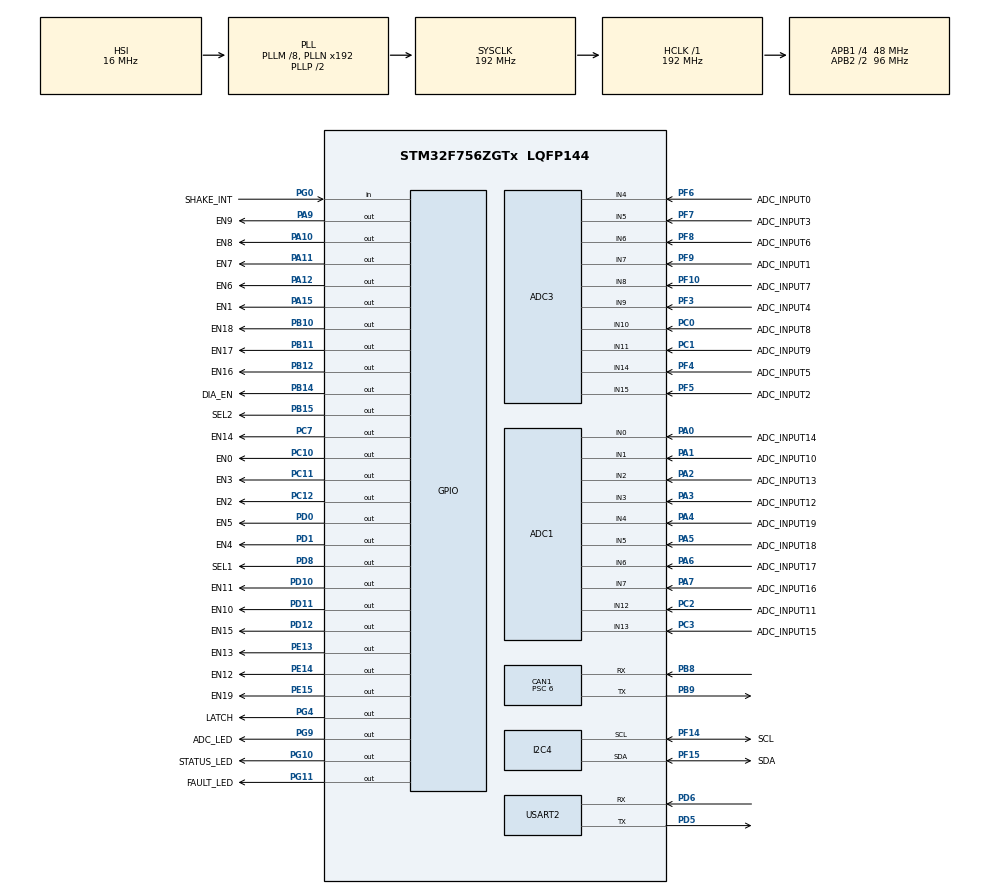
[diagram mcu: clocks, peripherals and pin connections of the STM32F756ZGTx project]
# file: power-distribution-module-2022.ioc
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NVIC.CAN1_RX1_IRQn=true\:5\:0\:false\:false\:true\:true\:true\:true
PF4.Mode=IN14
PD12.GPIO_Label=EN15
VP_SYS_VS_tim6.Mode=TIM6
NVIC.TIM6_DAC_IRQn=true\:0\:0\:false\:false\:true\:false\:false\:true
PG4.Signal=GPIO_Output
ADC1.SamplingTime-6\#ChannelRegularConversion=ADC_SAMPLETIME_15CYCLES
PC12.Signal=GPIO_Output
PB14.GPIO_Label=DIA_EN
PG0.Signal=GPIO_Input
PA6.GPIO_Label=ADC_INPUT17
ADC1.SamplingTime-12\#ChannelRegularConversion=ADC_SAMPLETIME_15CYCLES
PF6.GPIO_Label=ADC_INPUT0
ADC1.Channel-8\#ChannelRegularConversion=ADC_CHANNEL_13
RCC.SYSCLKSource=RCC_SYSCLKSOURCE_PLLCLK
ADC3.Channel-8\#ChannelRegularConversion=ADC_CHANNEL_10
ADC1.Channel-5\#ChannelRegularConversion=ADC_CHANNEL_2
PF7.Signal=ADC3_IN5
ADC3.Rank-7\#ChannelRegularConversion=8
NVIC.CAN1_TX_IRQn=true\:5\:0\:false\:false\:true\:true\:true\:true
ADC1.Rank-11\#ChannelRegularConversion=9
I2C4.Timing=0x20303E5D
RCC.APB2TimFreq_Value=192000000
Dma.ADC1.0.Direction=DMA_PERIPH_TO_MEMORY
ADC1.Channel-2\#ChannelRegularConversion=ADC_CHANNEL_1
PC7.Signal=GPIO_Output
PH1/OSC_OUT.Signal=RCC_OSC_OUT
PC3.Signal=ADCx_IN13
PD0.Signal=GPIO_Output
ADC3.ScanConvMode=ADC_SCAN_ENABLE
PD8.Signal=GPIO_Output
FREERTOS.configMINIMAL_STACK_SIZE=256
Dma.ADC1.0.MemDataAlignment=DMA_MDATAALIGN_HALFWORD
PF10.GPIO_Label=ADC_INPUT7
PB3.Mode=Trace_Asynchronous_SW
ADC1.ScanConvMode=ADC_SCAN_ENABLE
ADC3.SamplingTime-2\#ChannelRegularConversion=ADC_SAMPLETIME_15CYCLES
PD1.GPIO_Label=EN4
PB12.GPIO_Label=EN16
ADC3.SamplingTime-5\#ChannelRegularConversion=ADC_SAMPLETIME_15CYCLES
Dma.ADC1.0.PeriphInc=DMA_PINC_DISABLE
PG4.GPIO_Label=LATCH
PF8.Mode=IN6
ADC3.SamplingTime-9\#ChannelRegularConversion=ADC_SAMPLETIME_15CYCLES
PF3.Signal=ADC3_IN9
ADC3.Channel-2\#ChannelRegularConversion=ADC_CHANNEL_15
VP_FREERTOS_VS_CMSIS_V1.Mode=CMSIS_V1
ADC3.Rank-4\#ChannelRegularConversion=5
CAN1.Prescaler=6
PB9.Signal=CAN1_TX
Mcu.Package=LQFP144
TIM2.Prescaler=96-1
NVIC.TimeBase=TIM6_DAC_IRQn
PD12.Signal=GPIO_Output
ADC3.Rank-0\#ChannelRegularConversion=1
NVIC.TimeBaseIP=TIM6
PA10.Signal=GPIO_Output
ADC3.DMAContinuousRequests=ENABLE
RCC.APB2CLKDivider=RCC_HCLK_DIV2
PF14.Signal=I2C4_SCL
RCC.APB1TimFreq_Value=96000000
Dma.ADC1.0.FIFOMode=DMA_FIFOMODE_DISABLE
PF10.Mode=IN8
CAN1.CalculateTimeBit=1000.00
PA4.GPIO_Label=ADC_INPUT19
ADC1.EOCSelection=ADC_EOC_SEQ_CONV
Dma.ADC3.1.Priority=DMA_PRIORITY_LOW
ADC1.Rank-4\#ChannelRegularConversion=3
CAN1.CalculateTimeQuantum=125.0
ADC1.Channel-10\#ChannelRegularConversion=ADC_CHANNEL_6
Dma.ADC1.0.Instance=DMA2_Stream0
FREERTOS.Tasks01=taskMain_Loop,0,256,task_main_loop,Default,NULL,Dynamic,NULL,NULL;taskGCAN_Hardwa,0,256,task_gcan_hw,Default,NULL,Dynamic,NULL,NULL
SH.ADCx_IN6.0=ADC1_IN6,IN6
PG9.Signal=GPIO_Output
PA9.GPIO_Label=EN9
ADC3.Rank-6\#ChannelRegularConversion=7
CAN1.CalculateBaudRate=1000000
PC2.Signal=ADCx_IN12
PB11.GPIO_Label=EN17
PD1.Signal=GPIO_Output
PA11.GPIO_Label=EN7
PF14.GPIO_Label=SCL
NVIC.DMA2_Stream1_IRQn=true\:5\:0\:false\:false\:true\:false\:false\:true
PC0.Signal=ADCx_IN10
RCC.APB1CLKDivider=RCC_HCLK_DIV4
PD6.Mode=Asynchronous
PG10.Signal=GPIO_Output
PF8.GPIO_Label=ADC_INPUT6
PD10.Signal=GPIO_Output
SH.ADCx_IN7.0=ADC1_IN7,IN7
ADC3.SamplingTime-6\#ChannelRegularConversion=ADC_SAMPLETIME_15CYCLES
Dma.ADC1.0.Priority=DMA_PRIORITY_HIGH
PA9.Signal=GPIO_Output
ADC3.NbrOfConversion=10
Dma.ADC3.1.FIFOMode=DMA_FIFOMODE_DISABLE
Dma.ADC3.1.Instance=DMA2_Stream1
PB10.Signal=GPIO_Output
ADC3.Rank-9\#ChannelRegularConversion=10
PB14.Signal=GPIO_Output
PA5.Signal=ADCx_IN5
ADC1.Rank-12\#ChannelRegularConversion=10
PE14.Signal=GPIO_Output
ADC3.Channel-5\#ChannelRegularConversion=ADC_CHANNEL_14
PE15.Signal=GPIO_Output
PB15.GPIO_Label=SEL2
PF4.GPIO_Label=ADC_INPUT5
PA1.GPIO_Label=ADC_INPUT10
Dma.ADC3.1.MemDataAlignment=DMA_MDATAALIGN_HALFWORD
PA0/WKUP.GPIO_Label=ADC_INPUT14
SH.ADCx_IN4.0=ADC1_IN4,IN4
Dma.ADC3.1.PeriphInc=DMA_PINC_DISABLE
ADC1.DMAContinuousRequests=ENABLE
ADC1.SamplingTime-10\#ChannelRegularConversion=ADC_SAMPLETIME_15CYCLES
TIM2.Period=4294967295
ADC1.Rank-9\#ChannelRegularConversion=7
ADC3.Rank-5\#ChannelRegularConversion=6
PA13.Mode=Trace_Asynchronous_SW
ADC3.Channel-1\#ChannelRegularConversion=ADC_CHANNEL_7
PC7.GPIO_Label=EN14
ADC3.Rank-1\#ChannelRegularConversion=2
PA4.Signal=ADCx_IN4
ADC1.master=1
PE13.GPIO_Label=EN13
PA5.GPIO_Label=ADC_INPUT18
PD11.Signal=GPIO_Output
PC12.GPIO_Label=EN2
PA11.Signal=GPIO_Output
ProjectManager.HeapSize=0x200
ADC3.EOCSelection=ADC_EOC_SINGLE_CONV
ADC1.SamplingTime-5\#ChannelRegularConversion=ADC_SAMPLETIME_15CYCLES
PF6.Mode=IN4
PF9.Signal=ADC3_IN7
SH.ADCx_IN5.0=ADC1_IN5,IN5
NVIC.PriorityGroup=NVIC_PRIORITYGROUP_4
PB8.Mode=CAN_Activate
TIM2.AutoReloadPreload=TIM_AUTORELOAD_PRELOAD_DISABLE
PC3.GPIO_Label=ADC_INPUT15
PF4.Signal=ADC3_IN14
ADC1.SamplingTime-9\#ChannelRegularConversion=ADC_SAMPLETIME_15CYCLES
ADC1.Rank-5\#ChannelRegularConversion=4
PC1.Signal=ADCx_IN11
PG10.GPIO_Label=STATUS_LED
NVIC.CAN1_RX0_IRQn=true\:5\:0\:false\:false\:true\:true\:true\:true
Mcu.Family=STM32F7
RCC.CortexFreq_Value=192000000
ADC1.ContinuousConvMode=ENABLE
ADC3.Channel-3\#ChannelRegularConversion=ADC_CHANNEL_5
ADC3.SamplingTime-7\#ChannelRegularConversion=ADC_SAMPLETIME_15CYCLES
CAN1.AWUM=ENABLE
SH.ADCx_IN2.0=ADC1_IN2,IN2
PC10.Signal=GPIO_Output
PC0.GPIO_Label=ADC_INPUT8
PD0.GPIO_Label=EN5
PA0/WKUP.Signal=ADCx_IN0
PB11.Signal=GPIO_Output
PB15.Signal=GPIO_Output
ADC3.Channel-0\#ChannelRegularConversion=ADC_CHANNEL_4
PG11.Signal=GPIO_Output
ADC3.Rank-2\#ChannelRegularConversion=3
ProjectManager.StackSize=0x400
ADC3.Channel-6\#ChannelRegularConversion=ADC_CHANNEL_6
ADC3.SamplingTime-4\#ChannelRegularConversion=ADC_SAMPLETIME_15CYCLES
Dma.ADC3.1.PeriphDataAlignment=DMA_PDATAALIGN_HALFWORD
PA15.GPIO_Label=EN1
PA12.Signal=GPIO_Output
ADC1.Channel-3\#ChannelRegularConversion=ADC_CHANNEL_12
PH0/OSC_IN.Mode=HSE-External-Clock-Source
PD11.GPIO_Label=EN10
RCC.HCLKFreq_Value=192000000
SH.ADCx_IN3.0=ADC1_IN3,IN3
NVIC.DMA2_Stream0_IRQn=true\:5\:0\:false\:false\:true\:false\:false\:true
RCC.AHBFreq_Value=192000000
PD5.Mode=Asynchronous
ADC3.SamplingTime-1\#ChannelRegularConversion=ADC_SAMPLETIME_15CYCLES
RCC.HSE_VALUE=24000000
ADC3.InjNumberOfConversion=0
USART2.VirtualMode-Asynchronous=VM_ASYNC
ADC1.SamplingTime-4\#ChannelRegularConversion=ADC_SAMPLETIME_15CYCLES
ADC1.Channel-6\#ChannelRegularConversion=ADC_CHANNEL_0
ADC1.Rank-2\#ChannelRegularConversion=1
PF9.Mode=IN7
ADC3.Channel-9\#ChannelRegularConversion=ADC_CHANNEL_11
PE13.Signal=GPIO_Output
PF7.GPIO_Label=ADC_INPUT3
ADC3.Rank-8\#ChannelRegularConversion=9
PA14.Mode=Trace_Asynchronous_SW
PC11.GPIO_Label=EN3
PA10.GPIO_Label=EN8
ADC3.DataAlign=ADC_DATAALIGN_RIGHT
SH.ADCx_IN0.0=ADC1_IN0,IN0
PH1/OSC_OUT.Mode=HSE-External-Clock-Source
FREERTOS.configTOTAL_HEAP_SIZE=300000
PF15.Mode=I2C
ADC1.SamplingTime-11\#ChannelRegularConversion=ADC_SAMPLETIME_15CYCLES
PA6.Signal=ADCx_IN6
Dma.ADC3.1.Direction=DMA_PERIPH_TO_MEMORY
PA2.GPIO_Label=ADC_INPUT13
ADC1.Channel-11\#ChannelRegularConversion=ADC_CHANNEL_5
PF5.GPIO_Label=ADC_INPUT2
PA15.Signal=GPIO_Output
PF8.Signal=ADC3_IN6
PG0.GPIO_Label=SHAKE_INT
ADC3.ClockPrescaler=ADC_CLOCK_SYNC_PCLK_DIV4
PF5.Signal=ADC3_IN15
SH.ADCx_IN1.0=ADC1_IN1,IN1
Dma.Request1=ADC3
PG11.GPIO_Label=FAULT_LED
PD6.Signal=USART2_RX
ADC1.Rank-6\#ChannelRegularConversion=5
Dma.Request0=ADC1
PF3.GPIO_Label=ADC_INPUT4
ADC1.SamplingTime-8\#ChannelRegularConversion=ADC_SAMPLETIME_15CYCLES
PC2.GPIO_Label=ADC_INPUT11
PA3.Signal=ADCx_IN3
ADC3.Channel-7\#ChannelRegularConversion=ADC_CHANNEL_8
ADC3.SamplingTime-3\#ChannelRegularConversion=ADC_SAMPLETIME_15CYCLES
ADC3.DiscontinuousConvMode=DISABLE
SH.ADCx_IN13.0=ADC1_IN13,IN13
PF3.Mode=IN9
ADC1.Channel-4\#ChannelRegularConversion=ADC_CHANNEL_3
PC10.GPIO_Label=EN0
ADC1.Rank-10\#ChannelRegularConversion=8
ADC1.Rank-8\#ChannelRegularConversion=6
PC11.Signal=GPIO_Output
ADC1.DiscontinuousConvMode=DISABLE
PE14.GPIO_Label=EN12
PD5.Signal=USART2_TX
ADC3.Rank-3\#ChannelRegularConversion=4
PA12.GPIO_Label=EN6
PF5.Mode=IN15
ADC1.SamplingTime-2\#ChannelRegularConversion=ADC_SAMPLETIME_15CYCLES
PD8.GPIO_Label=SEL1
PA13.Signal=SYS_JTMS-SWDIO
PF7.Mode=IN5
Dma.ADC1.0.PeriphDataAlignment=DMA_PDATAALIGN_HALFWORD
SH.ADCx_IN12.0=ADC1_IN12,IN12
ADC3.SamplingTime-0\#ChannelRegularConversion=ADC_SAMPLETIME_15CYCLES
PE15.GPIO_Label=EN19
PF6.Signal=ADC3_IN4
CAN1.BS1=CAN_BS1_6TQ
ProjectManager.TargetToolchain=STM32CubeIDE
ADC3.Channel-4\#ChannelRegularConversion=ADC_CHANNEL_9
PB10.GPIO_Label=EN18
Dma.ADC1.0.Mode=DMA_CIRCULAR
PB9.Mode=CAN_Activate
RCC.USBFreq_Value=192000000
PF9.GPIO_Label=ADC_INPUT1
PD10.GPIO_Label=EN11
RCC.LSE_VALUE=32768
PA1.Signal=ADCx_IN1
CAN1.ABOM=ENABLE
PG9.GPIO_Label=ADC_LED
board=custom
RCC.VCOOutputFreq_Value=384000000
PH0/OSC_IN.Signal=RCC_OSC_IN
ADC1.Channel-12\#ChannelRegularConversion=ADC_CHANNEL_4
RCC.APB2Freq_Value=96000000
SH.ADCx_IN11.0=ADC3_IN11,IN11
VP_TIM2_VS_ClockSourceINT.Mode=Internal
CAN1.Mode=CAN_MODE_NORMAL
PF10.Signal=ADC3_IN8
PF14.Mode=I2C
PC1.GPIO_Label=ADC_INPUT9
PF15.GPIO_Label=SDA
Dma.ADC3.1.MemInc=DMA_MINC_ENABLE
PF15.Signal=I2C4_SDA
ADC3.SamplingTime-8\#ChannelRegularConversion=ADC_SAMPLETIME_15CYCLES
ADC1.NbrOfConversion=10
Dma.ADC3.1.Mode=DMA_CIRCULAR
Mcu.Name=STM32F756ZGTx
PA2.Signal=ADCx_IN2
ADC1.Channel-9\#ChannelRegularConversion=ADC_CHANNEL_7
PB3.Signal=SYS_JTDO-SWO
RCC.SYSCLKFreq_VALUE=192000000
PA7.GPIO_Label=ADC_INPUT16
ADC1.Rank-3\#ChannelRegularConversion=2
ADC1.SamplingTime-3\#ChannelRegularConversion=ADC_SAMPLETIME_15CYCLES
PA14.Signal=SYS_JTCK-SWCLK
Dma.ADC1.0.MemInc=DMA_MINC_ENABLE
SH.ADCx_IN10.0=ADC3_IN10,IN10
RCC.HSI_VALUE=16000000
ADC1.NbrOfConversionFlag=1
RCC.PLLM=8
PB8.Signal=CAN1_RX
RCC.APB1Freq_Value=48000000
ADC3.NbrOfConversionFlag=1
ADC1.ClockPrescaler=ADC_CLOCK_SYNC_PCLK_DIV4
PB12.Signal=GPIO_Output
PA3.GPIO_Label=ADC_INPUT12
PA7.Signal=ADCx_IN7

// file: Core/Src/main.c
/* USER CODE BEGIN Header */
/**
  ******************************************************************************
  * @file           : main.c
  * @brief          : Main program body
  ******************************************************************************
  * @attention
  *
  * <h2><center>&copy; Copyright (c) 2021 STMicroelectronics.
  * All rights reserved.</center></h2>
  *
  * This software component is licensed by ST under BSD 3-Clause license,
  * the "License"; You may not use this file except in compliance with the
  * License. You may obtain a copy of the License at:
  *                        opensource.org/licenses/BSD-3-Clause
  *
  ******************************************************************************
  */
/* USER CODE END Header */
#include "main.h"
#include "cmsis_os.h"

/* USER CODE BEGIN Includes */
#include "pdm.h"
#include "gcan_pdm.h"
#include <string.h>
#include "config.h"
#include <math.h>

/* USER CODE END Includes */

ADC_HandleTypeDef hadc1;
ADC_HandleTypeDef hadc3;
DMA_HandleTypeDef hdma_adc1;
DMA_HandleTypeDef hdma_adc3;

CAN_HandleTypeDef hcan1;

I2C_HandleTypeDef hi2c4;

TIM_HandleTypeDef htim2;

UART_HandleTypeDef huart2;

osThreadId taskMain_LoopHandle;
osThreadId taskGCAN_HardwaHandle;

void SystemClock_Config(void);
static void MX_GPIO_Init(void);
static void MX_DMA_Init(void);
static void MX_CAN1_Init(void);
static void MX_ADC1_Init(void);
static void MX_ADC3_Init(void);
static void MX_I2C4_Init(void);
static void MX_TIM2_Init(void);
static void MX_USART2_UART_Init(void);
void task_main_loop(void const * argument);
void task_gcan_hw(void const * argument);

int main(void)
{

  /* MCU Configuration--------------------------------------------------------*/

  /* Reset of all peripherals, Initializes the Flash interface and the Systick. */
  HAL_Init();

  /* USER CODE BEGIN Init */
  MX_GPIO_Init();
  // Turn all LEDs on so that if there's an issue with the clock we know
  init_leds();
  set_all_leds(TRUE, TRUE, TRUE);
  /* USER CODE END Init */

  /* Configure the system clock */
  SystemClock_Config();

  /* Initialize all configured peripherals */
  MX_GPIO_Init();
  MX_DMA_Init();
  MX_CAN1_Init();
  MX_ADC1_Init();
  MX_ADC3_Init();
  MX_I2C4_Init();
  MX_TIM2_Init();
  MX_USART2_UART_Init();
  /* USER CODE BEGIN 2 */

  // ====================
  // || Initialization ||
  // ====================

  init_pdm(&htim2, &hadc1, &hadc3, &huart2);
  init_gcan(&hcan1);

  /* USER CODE END 2 */

  /* Create the thread(s) */
  /* definition and creation of taskMain_Loop */
  osThreadDef(taskMain_Loop, task_main_loop, osPriorityNormal, 0, 256);
  taskMain_LoopHandle = osThreadCreate(osThread(taskMain_Loop), NULL);

  /* definition and creation of taskGCAN_Hardwa */
  osThreadDef(taskGCAN_Hardwa, task_gcan_hw, osPriorityNormal, 0, 256);
  taskGCAN_HardwaHandle = osThreadCreate(osThread(taskGCAN_Hardwa), NULL);

  /* Start scheduler */
  osKernelStart();

  /* We should never get here as control is now taken by the scheduler */
  /* Infinite loop */
  /* USER CODE BEGIN WHILE */
  while (1)
  {
	// TODO: Add error code here
    /* USER CODE END WHILE */

  }
}

void SystemClock_Config(void)
{
  RCC_OscInitTypeDef RCC_OscInitStruct = {0};
  RCC_ClkInitTypeDef RCC_ClkInitStruct = {0};
  RCC_PeriphCLKInitTypeDef PeriphClkInitStruct = {0};

  /** Configure the main internal regulator output voltage
  */
  __HAL_RCC_PWR_CLK_ENABLE();
  __HAL_PWR_VOLTAGESCALING_CONFIG(PWR_REGULATOR_VOLTAGE_SCALE1);
  /** Initializes the RCC Oscillators according to the specified parameters
  * in the RCC_OscInitTypeDef structure.
  */
  RCC_OscInitStruct.OscillatorType = RCC_OSCILLATORTYPE_HSI;
  RCC_OscInitStruct.HSIState = RCC_HSI_ON;
  RCC_OscInitStruct.HSICalibrationValue = RCC_HSICALIBRATION_DEFAULT;
  RCC_OscInitStruct.PLL.PLLState = RCC_PLL_ON;
  RCC_OscInitStruct.PLL.PLLSource = RCC_PLLSOURCE_HSI;
  RCC_OscInitStruct.PLL.PLLM = 8;
  RCC_OscInitStruct.PLL.PLLN = 192;
  RCC_OscInitStruct.PLL.PLLP = RCC_PLLP_DIV2;
  RCC_OscInitStruct.PLL.PLLQ = 2;
  if (HAL_RCC_OscConfig(&RCC_OscInitStruct) != HAL_OK)
  {
    Error_Handler();
  }
  /** Activate the Over-Drive mode
  */
  if (HAL_PWREx_EnableOverDrive() != HAL_OK)
  {
    Error_Handler();
  }
  /** Initializes the CPU, AHB and APB buses clocks
  */
  RCC_ClkInitStruct.ClockType = RCC_CLOCKTYPE_HCLK|RCC_CLOCKTYPE_SYSCLK
                              |RCC_CLOCKTYPE_PCLK1|RCC_CLOCKTYPE_PCLK2;
  RCC_ClkInitStruct.SYSCLKSource = RCC_SYSCLKSOURCE_PLLCLK;
  RCC_ClkInitStruct.AHBCLKDivider = RCC_SYSCLK_DIV1;
  RCC_ClkInitStruct.APB1CLKDivider = RCC_HCLK_DIV4;
  RCC_ClkInitStruct.APB2CLKDivider = RCC_HCLK_DIV2;

  if (HAL_RCC_ClockConfig(&RCC_ClkInitStruct, FLASH_LATENCY_6) != HAL_OK)
  {
    Error_Handler();
  }
  PeriphClkInitStruct.PeriphClockSelection = RCC_PERIPHCLK_USART2|RCC_PERIPHCLK_I2C4;
  PeriphClkInitStruct.Usart2ClockSelection = RCC_USART2CLKSOURCE_PCLK1;
  PeriphClkInitStruct.I2c4ClockSelection = RCC_I2C4CLKSOURCE_PCLK1;
  if (HAL_RCCEx_PeriphCLKConfig(&PeriphClkInitStruct) != HAL_OK)
  {
    Error_Handler();
  }
}

static void MX_ADC1_Init(void)
{

  ADC_ChannelConfTypeDef sConfig = {0};

  /** Configure the global features of the ADC (Clock, Resolution, Data Alignment and number of conversion)
  */
  hadc1.Instance = ADC1;
  hadc1.Init.ClockPrescaler = ADC_CLOCK_SYNC_PCLK_DIV4;
  hadc1.Init.Resolution = ADC_RESOLUTION_12B;
  hadc1.Init.ScanConvMode = ADC_SCAN_ENABLE;
  hadc1.Init.ContinuousConvMode = ENABLE;
  hadc1.Init.DiscontinuousConvMode = DISABLE;
  hadc1.Init.ExternalTrigConvEdge = ADC_EXTERNALTRIGCONVEDGE_NONE;
  hadc1.Init.ExternalTrigConv = ADC_SOFTWARE_START;
  hadc1.Init.DataAlign = ADC_DATAALIGN_RIGHT;
  hadc1.Init.NbrOfConversion = 10;
  hadc1.Init.DMAContinuousRequests = ENABLE;
  hadc1.Init.EOCSelection = ADC_EOC_SEQ_CONV;
  if (HAL_ADC_Init(&hadc1) != HAL_OK)
  {
    Error_Handler();
  }
  /** Configure for the selected ADC regular channel its corresponding rank in the sequencer and its sample time.
  */
  sConfig.Channel = ADC_CHANNEL_1;
  sConfig.Rank = ADC_REGULAR_RANK_1;
  sConfig.SamplingTime = ADC_SAMPLETIME_15CYCLES;
  if (HAL_ADC_ConfigChannel(&hadc1, &sConfig) != HAL_OK)
  {
    Error_Handler();
  }
  /** Configure for the selected ADC regular channel its corresponding rank in the sequencer and its sample time.
  */
  sConfig.Channel = ADC_CHANNEL_12;
  sConfig.Rank = ADC_REGULAR_RANK_2;
  if (HAL_ADC_ConfigChannel(&hadc1, &sConfig) != HAL_OK)
  {
    Error_Handler();
  }
  /** Configure for the selected ADC regular channel its corresponding rank in the sequencer and its sample time.
  */
  sConfig.Channel = ADC_CHANNEL_3;
  sConfig.Rank = ADC_REGULAR_RANK_3;
  if (HAL_ADC_ConfigChannel(&hadc1, &sConfig) != HAL_OK)
  {
    Error_Handler();
  }
  /** Configure for the selected ADC regular channel its corresponding rank in the sequencer and its sample time.
  */
  sConfig.Channel = ADC_CHANNEL_2;
  sConfig.Rank = ADC_REGULAR_RANK_4;
  if (HAL_ADC_ConfigChannel(&hadc1, &sConfig) != HAL_OK)
  {
    Error_Handler();
  }
  /** Configure for the selected ADC regular channel its corresponding rank in the sequencer and its sample time.
  */
  sConfig.Channel = ADC_CHANNEL_0;
  sConfig.Rank = ADC_REGULAR_RANK_5;
  if (HAL_ADC_ConfigChannel(&hadc1, &sConfig) != HAL_OK)
  {
    Error_Handler();
  }
  /** Configure for the selected ADC regular channel its corresponding rank in the sequencer and its sample time.
  */
  sConfig.Channel = ADC_CHANNEL_13;
  sConfig.Rank = ADC_REGULAR_RANK_6;
  if (HAL_ADC_ConfigChannel(&hadc1, &sConfig) != HAL_OK)
  {
    Error_Handler();
  }
  /** Configure for the selected ADC regular channel its corresponding rank in the sequencer and its sample time.
  */
  sConfig.Channel = ADC_CHANNEL_7;
  sConfig.Rank = ADC_REGULAR_RANK_7;
  if (HAL_ADC_ConfigChannel(&hadc1, &sConfig) != HAL_OK)
  {
    Error_Handler();
  }
  /** Configure for the selected ADC regular channel its corresponding rank in the sequencer and its sample time.
  */
  sConfig.Channel = ADC_CHANNEL_6;
  sConfig.Rank = ADC_REGULAR_RANK_8;
  if (HAL_ADC_ConfigChannel(&hadc1, &sConfig) != HAL_OK)
  {
    Error_Handler();
  }
  /** Configure for the selected ADC regular channel its corresponding rank in the sequencer and its sample time.
  */
  sConfig.Channel = ADC_CHANNEL_5;
  sConfig.Rank = ADC_REGULAR_RANK_9;
  if (HAL_ADC_ConfigChannel(&hadc1, &sConfig) != HAL_OK)
  {
    Error_Handler();
  }
  /** Configure for the selected ADC regular channel its corresponding rank in the sequencer and its sample time.
  */
  sConfig.Channel = ADC_CHANNEL_4;
  sConfig.Rank = ADC_REGULAR_RANK_10;
  if (HAL_ADC_ConfigChannel(&hadc1, &sConfig) != HAL_OK)
  {
    Error_Handler();
  }

}

static void MX_ADC3_Init(void)
{

  ADC_ChannelConfTypeDef sConfig = {0};

  /** Configure the global features of the ADC (Clock, Resolution, Data Alignment and number of conversion)
  */
  hadc3.Instance = ADC3;
  hadc3.Init.ClockPrescaler = ADC_CLOCK_SYNC_PCLK_DIV4;
  hadc3.Init.Resolution = ADC_RESOLUTION_12B;
  hadc3.Init.ScanConvMode = ADC_SCAN_ENABLE;
  hadc3.Init.ContinuousConvMode = ENABLE;
  hadc3.Init.DiscontinuousConvMode = DISABLE;
  hadc3.Init.ExternalTrigConvEdge = ADC_EXTERNALTRIGCONVEDGE_NONE;
  hadc3.Init.ExternalTrigConv = ADC_SOFTWARE_START;
  hadc3.Init.DataAlign = ADC_DATAALIGN_RIGHT;
  hadc3.Init.NbrOfConversion = 10;
  hadc3.Init.DMAContinuousRequests = ENABLE;
  hadc3.Init.EOCSelection = ADC_EOC_SINGLE_CONV;
  if (HAL_ADC_Init(&hadc3) != HAL_OK)
  {
    Error_Handler();
  }
  /** Configure for the selected ADC regular channel its corresponding rank in the sequencer and its sample time.
  */
  sConfig.Channel = ADC_CHANNEL_4;
  sConfig.Rank = ADC_REGULAR_RANK_1;
  sConfig.SamplingTime = ADC_SAMPLETIME_15CYCLES;
  if (HAL_ADC_ConfigChannel(&hadc3, &sConfig) != HAL_OK)
  {
    Error_Handler();
  }
  /** Configure for the selected ADC regular channel its corresponding rank in the sequencer and its sample time.
  */
  sConfig.Channel = ADC_CHANNEL_7;
  sConfig.Rank = ADC_REGULAR_RANK_2;
  if (HAL_ADC_ConfigChannel(&hadc3, &sConfig) != HAL_OK)
  {
    Error_Handler();
  }
  /** Configure for the selected ADC regular channel its corresponding rank in the sequencer and its sample time.
  */
  sConfig.Channel = ADC_CHANNEL_15;
  sConfig.Rank = ADC_REGULAR_RANK_3;
  if (HAL_ADC_ConfigChannel(&hadc3, &sConfig) != HAL_OK)
  {
    Error_Handler();
  }
  /** Configure for the selected ADC regular channel its corresponding rank in the sequencer and its sample time.
  */
  sConfig.Channel = ADC_CHANNEL_5;
  sConfig.Rank = ADC_REGULAR_RANK_4;
  if (HAL_ADC_ConfigChannel(&hadc3, &sConfig) != HAL_OK)
  {
    Error_Handler();
  }
  /** Configure for the selected ADC regular channel its corresponding rank in the sequencer and its sample time.
  */
  sConfig.Channel = ADC_CHANNEL_9;
  sConfig.Rank = ADC_REGULAR_RANK_5;
  if (HAL_ADC_ConfigChannel(&hadc3, &sConfig) != HAL_OK)
  {
    Error_Handler();
  }
  /** Configure for the selected ADC regular channel its corresponding rank in the sequencer and its sample time.
  */
  sConfig.Channel = ADC_CHANNEL_14;
  sConfig.Rank = ADC_REGULAR_RANK_6;
  if (HAL_ADC_ConfigChannel(&hadc3, &sConfig) != HAL_OK)
  {
    Error_Handler();
  }
  /** Configure for the selected ADC regular channel its corresponding rank in the sequencer and its sample time.
  */
  sConfig.Channel = ADC_CHANNEL_6;
  sConfig.Rank = ADC_REGULAR_RANK_7;
  if (HAL_ADC_ConfigChannel(&hadc3, &sConfig) != HAL_OK)
  {
    Error_Handler();
  }
  /** Configure for the selected ADC regular channel its corresponding rank in the sequencer and its sample time.
  */
  sConfig.Channel = ADC_CHANNEL_8;
  sConfig.Rank = ADC_REGULAR_RANK_8;
  if (HAL_ADC_ConfigChannel(&hadc3, &sConfig) != HAL_OK)
  {
    Error_Handler();
  }
  /** Configure for the selected ADC regular channel its corresponding rank in the sequencer and its sample time.
  */
  sConfig.Channel = ADC_CHANNEL_10;
  sConfig.Rank = ADC_REGULAR_RANK_9;
  if (HAL_ADC_ConfigChannel(&hadc3, &sConfig) != HAL_OK)
  {
    Error_Handler();
  }
  /** Configure for the selected ADC regular channel its corresponding rank in the sequencer and its sample time.
  */
  sConfig.Channel = ADC_CHANNEL_11;
  sConfig.Rank = ADC_REGULAR_RANK_10;
  if (HAL_ADC_ConfigChannel(&hadc3, &sConfig) != HAL_OK)
  {
    Error_Handler();
  }

}

static void MX_CAN1_Init(void)
{

  hcan1.Instance = CAN1;
  hcan1.Init.Prescaler = 6;
  hcan1.Init.Mode = CAN_MODE_NORMAL;
  hcan1.Init.SyncJumpWidth = CAN_SJW_1TQ;
  hcan1.Init.TimeSeg1 = CAN_BS1_6TQ;
  hcan1.Init.TimeSeg2 = CAN_BS2_1TQ;
  hcan1.Init.TimeTriggeredMode = DISABLE;
  hcan1.Init.AutoBusOff = ENABLE;
  hcan1.Init.AutoWakeUp = ENABLE;
  hcan1.Init.AutoRetransmission = DISABLE;
  hcan1.Init.ReceiveFifoLocked = DISABLE;
  hcan1.Init.TransmitFifoPriority = DISABLE;
  if (HAL_CAN_Init(&hcan1) != HAL_OK)
  {
    Error_Handler();
  }

}

static void MX_I2C4_Init(void)
{

  hi2c4.Instance = I2C4;
  hi2c4.Init.Timing = 0x20303E5D;
  hi2c4.Init.OwnAddress1 = 0;
  hi2c4.Init.AddressingMode = I2C_ADDRESSINGMODE_7BIT;
  hi2c4.Init.DualAddressMode = I2C_DUALADDRESS_DISABLE;
  hi2c4.Init.OwnAddress2 = 0;
  hi2c4.Init.OwnAddress2Masks = I2C_OA2_NOMASK;
  hi2c4.Init.GeneralCallMode = I2C_GENERALCALL_DISABLE;
  hi2c4.Init.NoStretchMode = I2C_NOSTRETCH_DISABLE;
  if (HAL_I2C_Init(&hi2c4) != HAL_OK)
  {
    Error_Handler();
  }
  /** Configure Analogue filter
  */
  if (HAL_I2CEx_ConfigAnalogFilter(&hi2c4, I2C_ANALOGFILTER_ENABLE) != HAL_OK)
  {
    Error_Handler();
  }
  /** Configure Digital filter
  */
  if (HAL_I2CEx_ConfigDigitalFilter(&hi2c4, 0) != HAL_OK)
  {
    Error_Handler();
  }

}

static void MX_TIM2_Init(void)
{

  TIM_ClockConfigTypeDef sClockSourceConfig = {0};
  TIM_MasterConfigTypeDef sMasterConfig = {0};

  htim2.Instance = TIM2;
  htim2.Init.Prescaler = 96-1;
  htim2.Init.CounterMode = TIM_COUNTERMODE_UP;
  htim2.Init.Period = 4294967295;
  htim2.Init.ClockDivision = TIM_CLOCKDIVISION_DIV1;
  htim2.Init.AutoReloadPreload = TIM_AUTORELOAD_PRELOAD_DISABLE;
  if (HAL_TIM_Base_Init(&htim2) != HAL_OK)
  {
    Error_Handler();
  }
  sClockSourceConfig.ClockSource = TIM_CLOCKSOURCE_INTERNAL;
  if (HAL_TIM_ConfigClockSource(&htim2, &sClockSourceConfig) != HAL_OK)
  {
    Error_Handler();
  }
  sMasterConfig.MasterOutputTrigger = TIM_TRGO_RESET;
  sMasterConfig.MasterSlaveMode = TIM_MASTERSLAVEMODE_DISABLE;
  if (HAL_TIMEx_MasterConfigSynchronization(&htim2, &sMasterConfig) != HAL_OK)
  {
    Error_Handler();
  }

}

static void MX_USART2_UART_Init(void)
{

  huart2.Instance = USART2;
  huart2.Init.BaudRate = 115200;
  huart2.Init.WordLength = UART_WORDLENGTH_8B;
  huart2.Init.StopBits = UART_STOPBITS_1;
  huart2.Init.Parity = UART_PARITY_NONE;
  huart2.Init.Mode = UART_MODE_TX_RX;
  huart2.Init.HwFlowCtl = UART_HWCONTROL_NONE;
  huart2.Init.OverSampling = UART_OVERSAMPLING_16;
  huart2.Init.OneBitSampling = UART_ONE_BIT_SAMPLE_DISABLE;
  huart2.AdvancedInit.AdvFeatureInit = UART_ADVFEATURE_NO_INIT;
  if (HAL_UART_Init(&huart2) != HAL_OK)
  {
    Error_Handler();
  }

}

static void MX_DMA_Init(void)
{

  /* DMA controller clock enable */
  __HAL_RCC_DMA2_CLK_ENABLE();

  /* DMA interrupt init */
  /* DMA2_Stream0_IRQn interrupt configuration */
  HAL_NVIC_SetPriority(DMA2_Stream0_IRQn, 5, 0);
  HAL_NVIC_EnableIRQ(DMA2_Stream0_IRQn);
  /* DMA2_Stream1_IRQn interrupt configuration */
  HAL_NVIC_SetPriority(DMA2_Stream1_IRQn, 5, 0);
  HAL_NVIC_EnableIRQ(DMA2_Stream1_IRQn);

}

static void MX_GPIO_Init(void)
{
  GPIO_InitTypeDef GPIO_InitStruct = {0};

  /* GPIO Ports Clock Enable */
  __HAL_RCC_GPIOF_CLK_ENABLE();
  __HAL_RCC_GPIOH_CLK_ENABLE();
  __HAL_RCC_GPIOC_CLK_ENABLE();
  __HAL_RCC_GPIOA_CLK_ENABLE();
  __HAL_RCC_GPIOG_CLK_ENABLE();
  __HAL_RCC_GPIOE_CLK_ENABLE();
  __HAL_RCC_GPIOB_CLK_ENABLE();
  __HAL_RCC_GPIOD_CLK_ENABLE();

  /*Configure GPIO pin Output Level */
  HAL_GPIO_WritePin(GPIOE, EN13_Pin|EN12_Pin|EN19_Pin, GPIO_PIN_RESET);

  /*Configure GPIO pin Output Level */
  HAL_GPIO_WritePin(GPIOB, EN18_Pin|EN17_Pin|EN16_Pin|DIA_EN_Pin
                          |SEL2_Pin, GPIO_PIN_RESET);

  /*Configure GPIO pin Output Level */
  HAL_GPIO_WritePin(GPIOD, SEL1_Pin|EN11_Pin|EN10_Pin|EN15_Pin
                          |EN5_Pin|EN4_Pin, GPIO_PIN_RESET);

  /*Configure GPIO pin Output Level */
  HAL_GPIO_WritePin(GPIOG, LATCH_Pin|ADC_LED_Pin|STATUS_LED_Pin|FAULT_LED_Pin, GPIO_PIN_RESET);

  /*Configure GPIO pin Output Level */
  HAL_GPIO_WritePin(GPIOC, EN14_Pin|EN0_Pin|EN3_Pin|EN2_Pin, GPIO_PIN_RESET);

  /*Configure GPIO pin Output Level */
  HAL_GPIO_WritePin(GPIOA, EN9_Pin|EN8_Pin|EN7_Pin|EN6_Pin
                          |EN1_Pin, GPIO_PIN_RESET);

  /*Configure GPIO pin : SHAKE_INT_Pin */
  GPIO_InitStruct.Pin = SHAKE_INT_Pin;
  GPIO_InitStruct.Mode = GPIO_MODE_INPUT;
  GPIO_InitStruct.Pull = GPIO_NOPULL;
  HAL_GPIO_Init(SHAKE_INT_GPIO_Port, &GPIO_InitStruct);

  /*Configure GPIO pins : EN13_Pin EN12_Pin EN19_Pin */
  GPIO_InitStruct.Pin = EN13_Pin|EN12_Pin|EN19_Pin;
  GPIO_InitStruct.Mode = GPIO_MODE_OUTPUT_PP;
  GPIO_InitStruct.Pull = GPIO_NOPULL;
  GPIO_InitStruct.Speed = GPIO_SPEED_FREQ_LOW;
  HAL_GPIO_Init(GPIOE, &GPIO_InitStruct);

  /*Configure GPIO pins : EN18_Pin EN17_Pin EN16_Pin DIA_EN_Pin
                           SEL2_Pin */
  GPIO_InitStruct.Pin = EN18_Pin|EN17_Pin|EN16_Pin|DIA_EN_Pin
                          |SEL2_Pin;
  GPIO_InitStruct.Mode = GPIO_MODE_OUTPUT_PP;
  GPIO_InitStruct.Pull = GPIO_NOPULL;
  GPIO_InitStruct.Speed = GPIO_SPEED_FREQ_LOW;
  HAL_GPIO_Init(GPIOB, &GPIO_InitStruct);

  /*Configure GPIO pins : SEL1_Pin EN11_Pin EN10_Pin EN15_Pin
                           EN5_Pin EN4_Pin */
  GPIO_InitStruct.Pin = SEL1_Pin|EN11_Pin|EN10_Pin|EN15_Pin
                          |EN5_Pin|EN4_Pin;
  GPIO_InitStruct.Mode = GPIO_MODE_OUTPUT_PP;
  GPIO_InitStruct.Pull = GPIO_NOPULL;
  GPIO_InitStruct.Speed = GPIO_SPEED_FREQ_LOW;
  HAL_GPIO_Init(GPIOD, &GPIO_InitStruct);

  /*Configure GPIO pins : LATCH_Pin ADC_LED_Pin STATUS_LED_Pin FAULT_LED_Pin */
  GPIO_InitStruct.Pin = LATCH_Pin|ADC_LED_Pin|STATUS_LED_Pin|FAULT_LED_Pin;
  GPIO_InitStruct.Mode = GPIO_MODE_OUTPUT_PP;
  GPIO_InitStruct.Pull = GPIO_NOPULL;
  GPIO_InitStruct.Speed = GPIO_SPEED_FREQ_LOW;
  HAL_GPIO_Init(GPIOG, &GPIO_InitStruct);

  /*Configure GPIO pins : EN14_Pin EN0_Pin EN3_Pin EN2_Pin */
  GPIO_InitStruct.Pin = EN14_Pin|EN0_Pin|EN3_Pin|EN2_Pin;
  GPIO_InitStruct.Mode = GPIO_MODE_OUTPUT_PP;
  GPIO_InitStruct.Pull = GPIO_NOPULL;
  GPIO_InitStruct.Speed = GPIO_SPEED_FREQ_LOW;
  HAL_GPIO_Init(GPIOC, &GPIO_InitStruct);

  /*Configure GPIO pins : EN9_Pin EN8_Pin EN7_Pin EN6_Pin
                           EN1_Pin */
  GPIO_InitStruct.Pin = EN9_Pin|EN8_Pin|EN7_Pin|EN6_Pin
                          |EN1_Pin;
  GPIO_InitStruct.Mode = GPIO_MODE_OUTPUT_PP;
  GPIO_InitStruct.Pull = GPIO_NOPULL;
  GPIO_InitStruct.Speed = GPIO_SPEED_FREQ_LOW;
  HAL_GPIO_Init(GPIOA, &GPIO_InitStruct);

}

/* USER CODE BEGIN 4 */

void HAL_ADC_ConvHalfCpltCallback(ADC_HandleTypeDef* hadc) {
	adc_interrupt(hadc, TRUE);
}

void HAL_ADC_ConvCpltCallback(ADC_HandleTypeDef* hadc) {
	adc_interrupt(hadc, FALSE);
}

/* USER CODE END 4 */

void task_main_loop(void const * argument)
{
  /* USER CODE BEGIN 5 */
  /* Infinite loop */
  for(;;)
  {
	main_loop();
    osDelay(MAIN_LOOP_DELAY_MS);
  }
  /* USER CODE END 5 */
}

void task_gcan_hw(void const * argument)
{
  /* USER CODE BEGIN task_gcan_hw */
  /* Infinite loop */
  for(;;)
  {
	gcan_process_buffer();
    osDelay(1);
  }
  /* USER CODE END task_gcan_hw */
}

 /**
  * @brief  Period elapsed callback in non blocking mode
  * @note   This function is called  when TIM6 interrupt took place, inside
  * HAL_TIM_IRQHandler(). It makes a direct call to HAL_IncTick() to increment
  * a global variable "uwTick" used as application time base.
  * @param  htim : TIM handle
  * @retval None
  */
void HAL_TIM_PeriodElapsedCallback(TIM_HandleTypeDef *htim)
{
  if (htim->Instance == TIM6) {
    HAL_IncTick();
  }
}

void Error_Handler(void)
{
  /* USER CODE BEGIN Error_Handler_Debug */
  /* User can add his own implementation to report the HAL error return state */
  __disable_irq();
  while (1)
  {
	  // TODO: Add error code(s)
  }
  /* USER CODE END Error_Handler_Debug */
}

/************************ (C) COPYRIGHT STMicroelectronics *****END OF FILE****/
